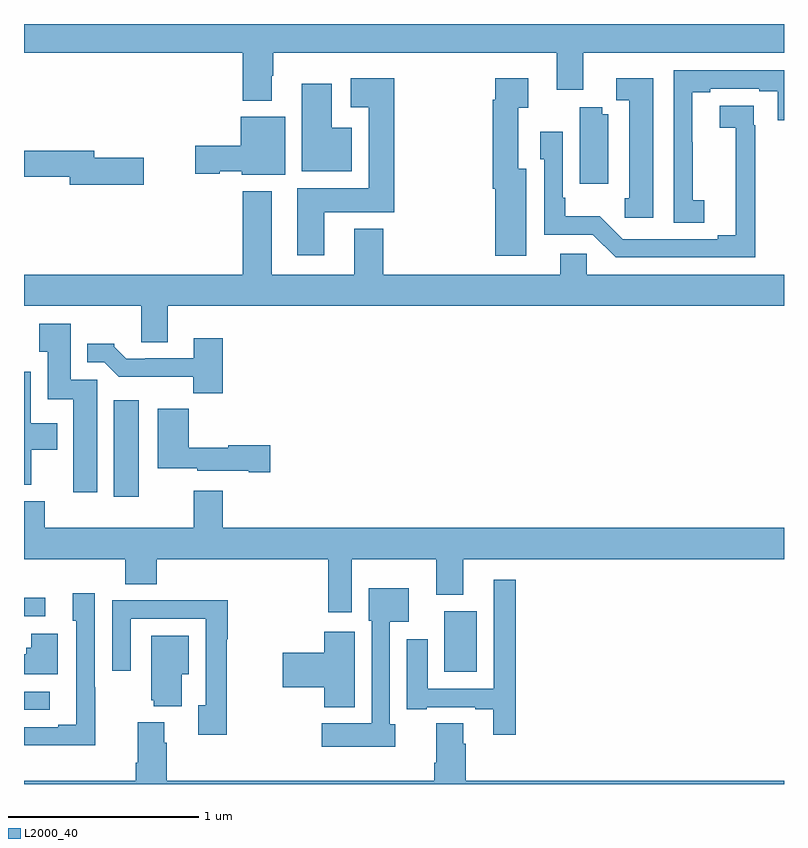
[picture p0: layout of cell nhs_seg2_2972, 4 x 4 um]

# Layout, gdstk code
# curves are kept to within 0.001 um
import gdstk
lib = gdstk.Library(unit=1e-6, precision=1e-09)
def R(c, l, rs):  # rectangles x0, y0, x1, y1
    for r in rs: c.add(gdstk.rectangle(r[:2], r[2:], *l))
def P(c, l, *ps):  # polygons
    for p in ps: c.add(gdstk.Polygon(p, *l))
L2000_40 = (2000, 40)

nhs_seg2_2972 = lib.new_cell('nhs_seg2_2972')
R(nhs_seg2_2972, L2000_40, [(267,632.19,267.136,632.286), (269.213,632.39,269.383,632.71), (267,632.682,267.112,632.78), (267.473,633.312,267.604,633.82)])
P(nhs_seg2_2972, L2000_40, [(268.303,635.528),(268.311,635.528),(268.311,635.648),(269.804,635.648),(269.804,635.454),(269.944,635.454),(269.944,635.648),(271,635.648),(271,635.8),(267,635.8),(267,635.648),(268.151,635.648),(268.151,635.396),(268.303,635.396)],
  [(270.58,634.873),(270.519,634.873),(270.519,635.177),(270.517,635.177),(270.517,635.44),(270.613,635.44),(270.613,635.46),(270.869,635.46),(270.869,635.446),(270.966,635.446),(270.966,635.293),(271,635.293),(271,635.556),(270.42,635.556),(270.42,634.753),(270.58,634.753)],
  [(270.313,635.515),(270.117,635.515),(270.117,635.4),(270.185,635.4),(270.185,634.884),(270.163,634.884),(270.163,634.779),(270.313,634.779)],
  [(268.579,634.808),(268.949,634.808),(268.949,635.515),(268.719,635.515),(268.719,635.363),(268.814,635.363),(268.814,634.936),(268.439,634.936),(268.439,634.584),(268.579,634.584)],
  [(269.644,635.038),(269.602,635.038),(269.602,635.359),(269.653,635.359),(269.653,635.515),(269.48,635.515),(269.48,635.402),(269.468,635.402),(269.468,634.934),(269.48,634.934),(269.48,634.581),(269.644,634.581)],
  [(268.726,635.254),(268.621,635.254),(268.621,635.485),(268.463,635.485),(268.463,635.024),(268.726,635.024)],
  [(270.848,635.267),(270.842,635.267),(270.842,635.369),(270.663,635.369),(270.663,635.254),(270.745,635.254),(270.746,634.688),(270.65,634.688),(270.65,634.668),(270.15,634.668),(270.029,634.789),(269.848,634.789),(269.848,634.885),(269.835,634.885),(269.835,635.233),(269.718,635.233),(269.718,635.088),(269.739,635.088),(269.739,634.692),(269.994,634.692),(270.114,634.572),(270.848,634.572)],
  [(270.076,635.326),(270.044,635.326),(270.044,635.363),(269.924,635.363),(269.924,634.959),(270.076,634.959)],
  [(268.375,635.311),(268.142,635.311),(268.142,635.159),(267.9,635.159),(267.9,635.012),(268.029,635.012),(268.029,635.024),(268.146,635.024),(268.146,635.006),(268.375,635.006)],
  [(267.631,635.096),(267.37,635.096),(267.37,635.132),(267,635.132),(267,634.996),(267.242,634.996),(267.242,634.954),(267.631,634.954)],
  [(267.757,634.316),(271,634.316),(271,634.48),(269.961,634.48),(269.961,634.59),(269.822,634.59),(269.822,634.48),(268.892,634.48),(268.892,634.723),(268.739,634.723),(268.739,634.48),(268.303,634.48),(268.303,634.921),(268.151,634.921),(268.151,634.48),(267,634.48),(267,634.316),(267.617,634.316),(267.617,634.126),(267.757,634.126)],
  [(267.385,633.927),(267.247,633.927),(267.247,634.222),(267.079,634.222),(267.079,634.075),(267.125,634.075),(267.125,633.824),(267.26,633.824),(267.26,633.336),(267.385,633.336)],
  [(268.046,634.147),(267.893,634.147),(267.893,634.041),(267.637,634.041),(267.637,634.038),(267.538,634.038),(267.474,634.102),(267.474,634.117),(267.332,634.117),(267.332,634.02),(267.423,634.02),(267.499,633.944),(267.891,633.944),(267.891,633.857),(268.046,633.857)],
  [(267.039,633.56),(267.175,633.56),(267.175,633.7),(267.036,633.7),(267.036,633.97),(267,633.97),(267,633.374),(267.039,633.374)],
  [(268.297,633.584),(268.074,633.584),(268.074,633.571),(267.866,633.571),(267.866,633.775),(267.704,633.775),(267.704,633.461),(267.912,633.461),(267.912,633.449),(268.184,633.449),(268.184,633.442),(268.297,633.442)],
  [(268.726,632.984),(269.171,632.984),(269.171,632.795),(269.311,632.795),(269.311,632.984),(271,632.984),(271,633.148),(268.046,633.148),(268.046,633.343),(267.893,633.343),(267.893,633.148),(267.11,633.148),(267.11,633.289),(267,633.289),(267,632.984),(267.533,632.984),(267.533,632.851),(267.698,632.851),(267.698,632.984),(268.601,632.984),(268.601,632.703),(268.726,632.703)],
  [(269.588,632.875),(269.472,632.875),(269.472,632.301),(269.125,632.301),(269.125,632.563),(269.015,632.563),(269.015,632.193),(269.119,632.193),(269.119,632.205),(269.375,632.205),(269.375,632.193),(269.471,632.193),(269.471,632.058),(269.588,632.058)],
  [(268.954,632.115),(268.926,632.115),(268.926,632.654),(269.026,632.654),(269.026,632.83),(268.814,632.83),(268.814,632.658),(268.83,632.658),(268.83,632.119),(268.566,632.119),(268.566,631.997),(268.954,631.997)],
  [(267.375,632.309),(267.372,632.309),(267.372,632.803),(267.257,632.803),(267.257,632.658),(267.276,632.658),(267.276,632.113),(267.179,632.113),(267.179,632.1),(267,632.1),(267,632.003),(267.375,632.003)],
  [(268.066,632.563),(268.073,632.563),(268.073,632.768),(267.781,632.768),(267.781,632.766),(267.465,632.766),(267.465,632.397),(267.561,632.397),(267.561,632.67),(267.957,632.67),(267.957,632.214),(267.917,632.214),(267.917,632.058),(268.066,632.058)],
  [(268.741,632.602),(268.58,632.602),(268.58,632.492),(268.362,632.492),(268.362,632.309),(268.58,632.309),(268.58,632.204),(268.741,632.204)],
  [(267.178,632.59),(267.039,632.59),(267.039,632.517),(267.013,632.517),(267.013,632.482),(267,632.482),(267,632.378),(267.178,632.378)],
  [(267.829,632.378),(267.868,632.378),(267.868,632.581),(267.671,632.581),(267.671,632.241),(267.683,632.241),(267.683,632.21),(267.829,632.21)],
  [(271,631.816),(269.324,631.816),(269.324,632.012),(269.311,632.012),(269.311,632.12),(269.171,632.12),(269.171,631.912),(269.159,631.912),(269.159,631.816),(267.752,631.816),(267.752,632.018),(267.739,632.018),(267.739,632.125),(267.599,632.125),(267.599,631.912),(267.587,631.912),(267.587,631.816),(267,631.816),(267,631.8),(271,631.8)])

lib.write_gds('nhs_seg2_2972.gds')
